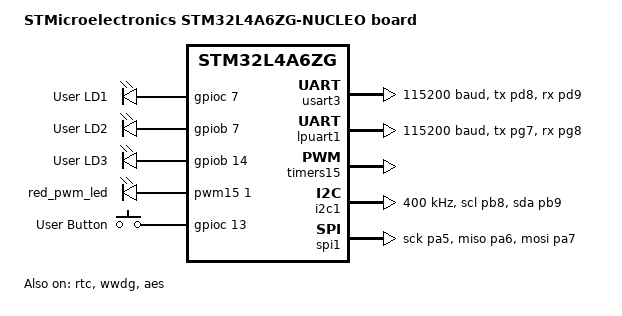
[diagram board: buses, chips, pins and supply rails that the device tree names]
/*
 * Copyright (c) 2022 Tomislav Milkovic
 *
 * SPDX-License-Identifier: Apache-2.0
 */

/dts-v1/;
#include <st/l4/stm32l4a6Xg.dtsi>
#include <st/l4/stm32l4a6zgtx-pinctrl.dtsi>
#include "arduino_r3_connector.dtsi"
#include <zephyr/dt-bindings/input/input-event-codes.h>

/ {
	model = "STMicroelectronics STM32L4A6ZG-NUCLEO board";
	compatible = "st,stm32l4a6zg-nucleo";

	chosen {
		zephyr,console = &lpuart1;
		zephyr,shell-uart = &lpuart1;
		zephyr,sram = &sram0;
		zephyr,flash = &flash0;
	};

	leds: leds {
		compatible = "gpio-leds";

		green_led_1: led_1 {
			gpios = <&gpioc 7 GPIO_ACTIVE_HIGH>;
			label = "User LD1";
		};

		blue_led_2: led_2 {
			gpios = <&gpiob 7 GPIO_ACTIVE_HIGH>;
			label = "User LD2";
		};

		red_led_3: led_3 {
			gpios = <&gpiob 14 GPIO_ACTIVE_HIGH>;
			label = "User LD3";
		};
	};

	pwmleds {
		compatible = "pwm-leds";

		red_pwm_led: red_pwm_led {
			pwms = <&pwm15 1 PWM_MSEC(20) PWM_POLARITY_NORMAL>;
		};
	};

	gpio_keys {
		compatible = "gpio-keys";

		user_button: button {
			label = "User Button";
			gpios = <&gpioc 13 GPIO_ACTIVE_HIGH>;
			zephyr,code = <INPUT_KEY_0>;
		};
	};

	aliases {
		led0 = &green_led_1;
		led1 = &blue_led_2;
		led2 = &red_led_3;
		pwm-led0 = &red_pwm_led;
		sw0 = &user_button;
		watchdog0 = &wwdg;
	};
};

&clk_lsi {
	status = "okay";
};

&clk_lse {
	status = "okay";
};

&clk_hsi {
	status = "okay";
};

&pll {
	div-m = <1>;
	mul-n = <20>;
	div-q = <2>;
	div-r = <4>;
	clocks = <&clk_hsi>;
	status = "okay";
};

&rcc {
	clocks = <&pll>;
	clock-frequency = <DT_FREQ_M(80)>;
	ahb-prescaler = <1>;
	apb1-prescaler = <1>;
	apb2-prescaler = <1>;
};

&usart3 {
	pinctrl-0 = <&usart3_tx_pd8 &usart3_rx_pd9>;
	pinctrl-names = "default";
	current-speed = <115200>;
	status = "okay";
};

&lpuart1 {
	pinctrl-0 = <&lpuart1_tx_pg7 &lpuart1_rx_pg8>;
	pinctrl-names = "default";
	current-speed = <115200>;
	status = "okay";
};

&timers15 {
	st,prescaler = <10000>;
	status = "okay";

	pwm15: pwm {
		status = "okay";
		pinctrl-0 = <&tim15_ch1_pb14>;
		pinctrl-names = "default";
	};
};

&i2c1 {
	pinctrl-0 = <&i2c1_scl_pb8 &i2c1_sda_pb9>;
	pinctrl-names = "default";
	status = "okay";
	clock-frequency = <I2C_BITRATE_FAST>;
};

&spi1 {
	pinctrl-0 = <&spi1_sck_pa5 &spi1_miso_pa6 &spi1_mosi_pa7>;
	pinctrl-names = "default";
	cs-gpios = <&gpiod 14 (GPIO_ACTIVE_LOW | GPIO_PULL_UP)>;
	status = "okay";
};

&rtc {
	clocks = <&rcc STM32_CLOCK(APB1, 28)>,
		 <&rcc STM32_SRC_LSI RTC_SEL(2)>;
	status = "okay";
};

&wwdg {
	status = "okay";
};

&aes {
	status = "okay";
};
